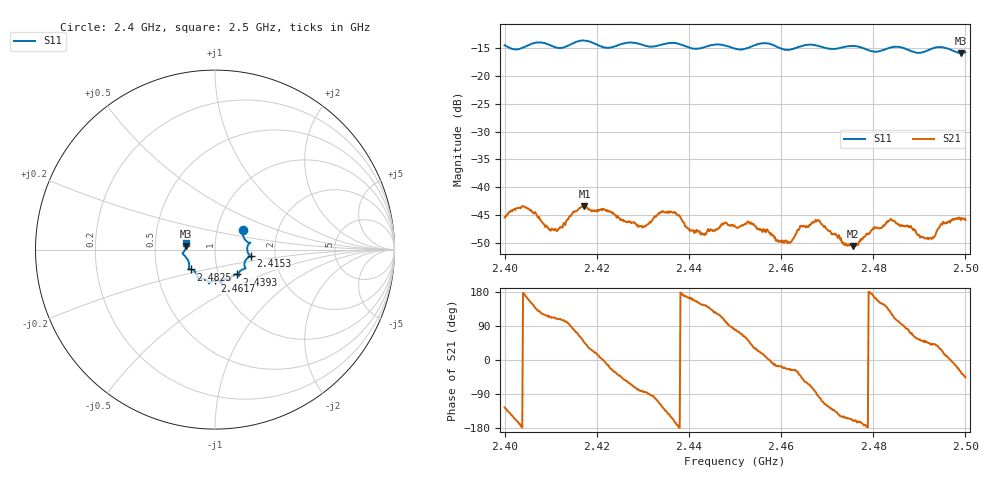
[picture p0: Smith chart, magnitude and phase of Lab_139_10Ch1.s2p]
# Hz S RI R 50
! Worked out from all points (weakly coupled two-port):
!   601 points, 2.4 GHz to 2.5 GHz, reference 50 ohm
!   highest |S21| = -43.40 dB at 2.4173 GHz (marker M1); lowest = -50.6 dB at 2.4755 GHz (marker M2)
!   lowest |S11| = -15.8 dB at 2.499 GHz (marker M3), VSWR 1.39, Z = 36.2 + j1.4 ohm
!   |S11| at or under -10 dB: start of sweep to end of sweep
!   S12 and S22 are empty: the file has one direction only
!   S11 on the Smith chart (normalised r, x): 2.4 GHz: 1.33, +0.30; 2.4153 GHz: 1.49, -0.12; 2.4393 GHz: 1.23, -0.35; 2.4617 GHz: 0.94, -0.33; 2.4825 GHz: 0.75, -0.17; 2.5 GHz: 0.72, +0.05
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2.4e9  0.1552 0.1083  -0.00309 -0.00434  0 0  0 0
2.404333e9  0.1773 0.0448  -0.00665 0.000833  0 0  0 0
2.411167e9  0.1802 0.0152  -0.00142 0.00383  0 0  0 0
2.415333e9  0.1981 -0.0378  0.00157 0.00587  0 0  0 0
2.416667e9  0.2045 -0.0421  0.00366 0.00553  0 0  0 0
2.417333e9  0.2045 -0.0418  0.00474 0.00483  0 0  0 0
2.429667e9  0.1595 -0.1082  0.000731 -0.00441  0 0  0 0
2.433333e9  0.1321 -0.1339  -0.00195 -0.00538  0 0  0 0
2.436667e9  0.1344 -0.1463  -0.00546 -0.00219  0 0  0 0
2.439333e9  0.123 -0.1381  -0.00434 0.000864  0 0  0 0
2.443167e9  0.0889 -0.1576  -0.0031 0.00216  0 0  0 0
2.45e9  0.0661 -0.1639  0.000864 0.00437  0 0  0 0
2.453167e9  0.0375 -0.1778  0.00321 0.00341  0 0  0 0
2.461667e9  0.000148 -0.1721  0.00288 -0.00128  0 0  0 0
2.466667e9  -0.0335 -0.1888  0.0015 -0.00457  0 0  0 0
2.4755e9  -0.0934 -0.1617  -0.00274 -0.00107  0 0  0 0
2.4825e9  -0.1335 -0.1106  -0.00374 0.00268  0 0  0 0
2.483333e9  -0.1408 -0.1098  -0.00325 0.00369  0 0  0 0
2.492333e9  -0.1707 -0.0325  0.00258 0.00233  0 0  0 0
2.495e9  -0.1807 -0.0202  0.00423 0.0018  0 0  0 0
2.499e9  -0.1603 0.0189  0.00431 -0.00262  0 0  0 0
2.5e9  -0.1596 0.0365  0.00353 -0.00361  0 0  0 0
